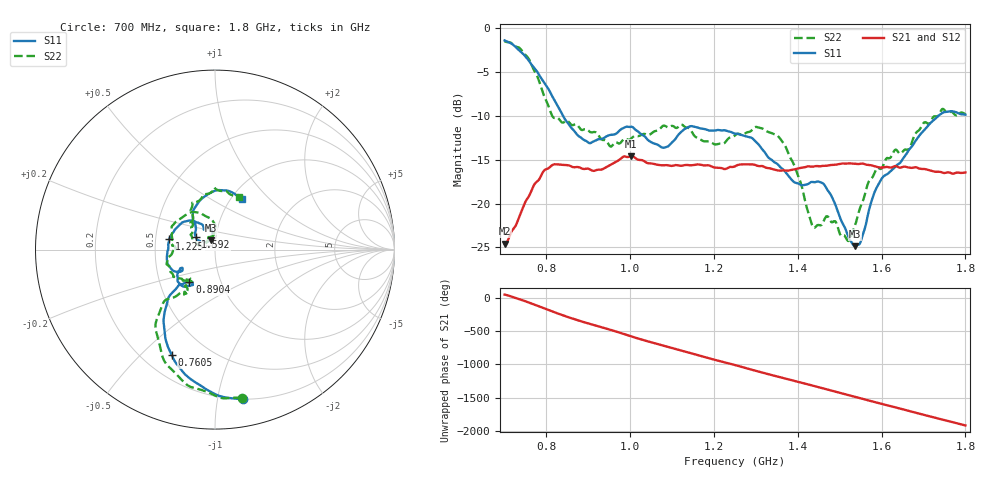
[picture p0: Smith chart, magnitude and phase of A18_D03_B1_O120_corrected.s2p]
! Created with skrf 1.9.0 (http://scikit-rf.org).
# Hz S RI R 50.0
!freq ReS11 ImS11 ReS21 ImS21 ReS12 ImS12 ReS22 ImS22
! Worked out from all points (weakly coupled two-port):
!   1601 points, 700 MHz to 1.8 GHz, reference 50 ohm
!   highest |S21| = -14.60 dB at 1.002 GHz (marker M1); lowest = -24.6 dB at 701.4 MHz (marker M2)
!   lowest |S11| = -24.9 dB at 1.536 GHz (marker M3), VSWR 1.12, Z = 47.4 + j4.91 ohm
!   |S11| at or under -10 dB: 839.3 MHz to 1.736 GHz (896.6 MHz wide, 69.6 % of centre)
!   |S22| runs from -24.3 to -1.5 dB; largest |S21 - S12| = 0.0035
!   S11 on the Smith chart (normalised r, x): 700 MHz: 0.20, -1.19; 760.5 MHz: 0.32, -0.62; 890.4 MHz: 0.71, -0.27; 1.225 GHz: 0.59, +0.07; 1.592 GHz: 0.80, +0.11; 1.8 GHz: 1.13, +0.71
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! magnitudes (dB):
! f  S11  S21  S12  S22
! 700 MHz  -1.4  -24.6  -24.4  -1.5
! 701.4 MHz  -1.5  -24.6  -24.2  -1.5
! 760.5 MHz  -3.9  -18.9  -18.8  -3.8
! 815.5 MHz  -7.9  -15.6  -15.7  -10.2
! 883.6 MHz  -12.5  -16.0  -15.9  -11.6
! 890.4 MHz  -12.8  -16.1  -16.0  -11.5
! 953 MHz  -12.2  -15.6  -15.6  -13.5
! 1.002 GHz  -11.2  -14.6  -14.7  -12.6
! 1.067 GHz  -13.4  -15.6  -15.5  -11.6
! 1.143 GHz  -11.2  -15.6  -15.6  -11.6
! 1.225 GHz  -11.7  -16.1  -16.0  -13.1
! 1.25 GHz  -12.0  -15.8  -15.7  -12.2
! 1.355 GHz  -15.7  -16.2  -16.2  -12.4
! 1.394 GHz  -17.6  -16.1  -16.1  -16.0
! 1.434 GHz  -17.5  -15.8  -15.8  -22.4
! 1.466 GHz  -18.1  -15.7  -15.7  -21.6
! 1.52 GHz  -23.7  -15.4  -15.4  -24.3
! 1.536 GHz  -24.9  -15.5  -15.5  -22.6
! 1.592 GHz  -17.8  -15.9  -15.9  -16.0
! 1.617 GHz  -16.5  -15.9  -15.8  -14.8
! 1.739 GHz  -9.9  -16.4  -16.4  -9.7
! 1.8 GHz  -9.9  -16.5  -16.5  -9.8
